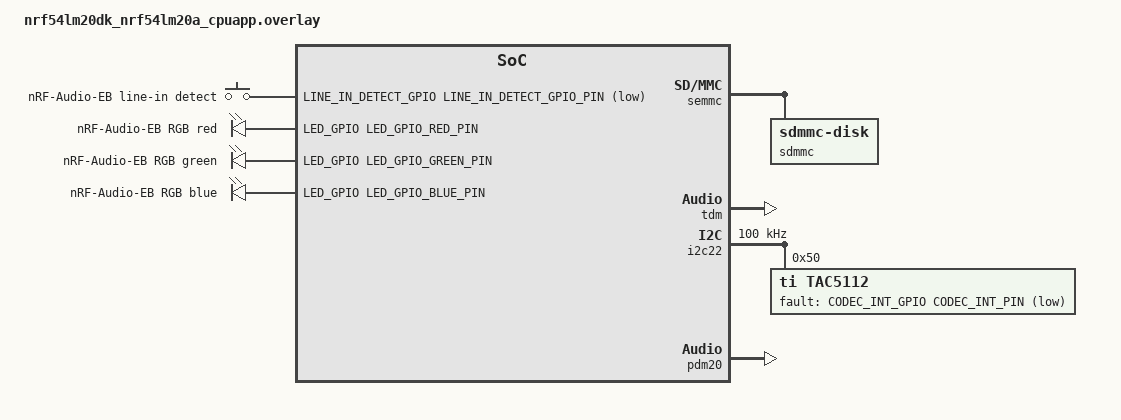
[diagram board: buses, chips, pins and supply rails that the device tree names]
/*
 * nRF-Audio-EB shield overlay for the nRF54LM20.
 *
 * Copyright (c) 2026 Nordic Semiconductor ASA
 *
 * SPDX-License-Identifier: LicenseRef-Nordic-5-Clause
 */

#include <zephyr/dt-bindings/gpio/gpio.h>
#include <zephyr/dt-bindings/i2c/i2c.h>
#include <zephyr/dt-bindings/input/input-event-codes.h>
#include <zephyr/dt-bindings/pinctrl/nrf-pinctrl.h>

#define CAT_(A,B) A ## B
#define CAT(A,B) CAT_(A, B)

#define CODEC_PWM_GPIO_NUM 0
#define PWM_GPIO CAT(gpio, CODEC_PWM_GPIO_NUM)
#define CODEC_PDM_CLK_PIN 3
#define CODEC_PDM_DIN_PIN 4

#define CODEC_TDM_GPIO_NUM 1
#define TDM_GPIO CAT(gpio, CODEC_TDM_GPIO_NUM)
#define CODEC_TDM_FSYNC_PIN 0
#define CODEC_TDM_SDOUT_PIN 13
#define CODEC_TDM_SCK_PIN 3
#define CODEC_TDM_MCK_PIN 4
#define CODEC_TDM_SDIN_PIN 5

#define CODEC_I2C_GPIO_NUM 1
#define I2C_GPIO CAT(gpio, CODEC_I2C_GPIO_NUM)
#define CODEC_I2C_GPIO_SCL_PIN 7
#define CODEC_I2C_GPIO_SDA_PIN 6

#define CODEC_INT_GPIO_NUM 3
#define CODEC_INT_GPIO CAT(gpio, CODEC_INT_GPIO_NUM)
#define CODEC_INT_PIN 5

#define LINE_IN_DETECT_GPIO_NUM 3
#define LINE_IN_DETECT_GPIO CAT(gpio, LINE_IN_DETECT_GPIO_NUM)
#define LINE_IN_DETECT_GPIO_PIN 6

#define LED_GPIO_NUM 3
#define LED_GPIO CAT(gpio, LED_GPIO_NUM)
#define LED_GPIO_RED_PIN 1
#define LED_GPIO_GREEN_PIN 3
#define LED_GPIO_BLUE_PIN 0

#define SEMMC_GPIO_NUM 2
#define SEMMC_GPIO CAT(gpio, SEMMC_GPIO_NUM)
#define SEMMC_GPIO_SCK 1
#define SEMMC_GPIO_DQ0 2
#define SEMMC_GPIO_DQ1 4
#define SEMMC_GPIO_DQ2 3
#define SEMMC_GPIO_DQ3 0
#define SEMMC_GPIO_CS0 5

#define EN_IN_CH1_BIT  BIT(0)
#define EN_IN_CH2_BIT  BIT(1)
#define EN_IN_CH3_BIT  BIT(2)
#define EN_IN_CH4_BIT  BIT(3)

#define EN_OUT_CH1_BIT BIT(0)
#define EN_OUT_CH2_BIT BIT(1)
#define EN_OUT_CH3_BIT BIT(2)
#define EN_OUT_CH4_BIT BIT(3)

/ {
	aliases {
		dmic0 = &pdm20;
		tac5112-i2s = &tdm;
		sdhc0 = &semmc;
	};

	nrf_audio_eb_inputs: gpio-keys {
		compatible = "gpio-keys";

		line_in_detect: line_in_detect {
			gpios = <&LINE_IN_DETECT_GPIO LINE_IN_DETECT_GPIO_PIN
			(GPIO_ACTIVE_LOW | GPIO_PULL_UP)>;
			label = "nRF-Audio-EB line-in detect";
			zephyr,code = <INPUT_KEY_0>;
		};
	};

	nrf_audio_eb_leds: leds {
		compatible = "gpio-leds";

		led_rgb_red: led_0 {
			gpios = <&LED_GPIO LED_GPIO_RED_PIN GPIO_ACTIVE_HIGH>;
			label = "nRF-Audio-EB RGB red";
		};

		led_rgb_green: led_1 {
			gpios = <&LED_GPIO LED_GPIO_GREEN_PIN GPIO_ACTIVE_HIGH>;
			label = "nRF-Audio-EB RGB green";
		};

		led_rgb_blue: led_2 {
			gpios = <&LED_GPIO LED_GPIO_BLUE_PIN GPIO_ACTIVE_HIGH>;
			label = "nRF-Audio-EB RGB blue";
		};
	};
};

&pinctrl {
	tdm_tac5112_default: tdm_tac5112_default {
		group1 {
			psels = <NRF_PSEL(TDM_MCK, CODEC_TDM_GPIO_NUM, CODEC_TDM_MCK_PIN)>;
			nordic,drive-mode = <NRF_DRIVE_H0H1>;
		};

		group2 {
			psels = <NRF_PSEL(TDM_SCK_M, CODEC_TDM_GPIO_NUM, CODEC_TDM_SCK_PIN)>,
				<NRF_PSEL(TDM_FSYNC_M, CODEC_TDM_GPIO_NUM, CODEC_TDM_FSYNC_PIN)>,
				<NRF_PSEL(TDM_SDOUT, CODEC_TDM_GPIO_NUM, CODEC_TDM_SDOUT_PIN)>,
				<NRF_PSEL(TDM_SDIN, CODEC_TDM_GPIO_NUM, CODEC_TDM_SDIN_PIN)>;
		};

	};

	tdm_tac5112_sleep: tdm_tac5112_sleep {
		group1 {
			psels =<NRF_PSEL(TDM_SCK_M, CODEC_TDM_GPIO_NUM, CODEC_TDM_SCK_PIN)>,
				<NRF_PSEL(TDM_FSYNC_M, CODEC_TDM_GPIO_NUM, CODEC_TDM_FSYNC_PIN)>,
				<NRF_PSEL(TDM_SDOUT, CODEC_TDM_GPIO_NUM, CODEC_TDM_SDOUT_PIN)>,
				<NRF_PSEL(TDM_SDIN, CODEC_TDM_GPIO_NUM, CODEC_TDM_SDIN_PIN)>;
			low-power-enable;
		};
	};

	i2c_tac5112_default: i2c_tac5112_default {
		group1 {
			psels = <NRF_PSEL(TWIM_SCL, CODEC_I2C_GPIO_NUM, CODEC_I2C_GPIO_SCL_PIN)>,
				<NRF_PSEL(TWIM_SDA, CODEC_I2C_GPIO_NUM, CODEC_I2C_GPIO_SDA_PIN)>;
		};
	};

	i2c_tac5112_sleep: i2c_tac5112_sleep {
		group1 {
			psels = <NRF_PSEL(TWIM_SCL, CODEC_I2C_GPIO_NUM, CODEC_I2C_GPIO_SCL_PIN)>,
				<NRF_PSEL(TWIM_SDA, CODEC_I2C_GPIO_NUM, CODEC_I2C_GPIO_SDA_PIN)>;
			low-power-enable;
		};
	};

	pdm_default: pdm_default {
		group1 {
			psels = <NRF_PSEL(PDM_CLK, CODEC_PWM_GPIO_NUM, CODEC_PDM_CLK_PIN)>,
				<NRF_PSEL(PDM_DIN, CODEC_PWM_GPIO_NUM, CODEC_PDM_DIN_PIN)>;
		};
	};

	semmc_default: semmc_default {
		group1 {
			psels = <NRF_PSEL(SDP_MSPI_SCK, SEMMC_GPIO_NUM, SEMMC_GPIO_SCK)>;
			nordic,drive-mode = <NRF_DRIVE_E0E1>;
			bias-pull-down;
		};

		group2 {
			psels = <NRF_PSEL(SDP_MSPI_DQ0, SEMMC_GPIO_NUM, SEMMC_GPIO_DQ0)>,
				<NRF_PSEL(SDP_MSPI_DQ1, SEMMC_GPIO_NUM, SEMMC_GPIO_DQ1)>,
				<NRF_PSEL(SDP_MSPI_DQ2, SEMMC_GPIO_NUM, SEMMC_GPIO_DQ2)>,
				<NRF_PSEL(SDP_MSPI_DQ3, SEMMC_GPIO_NUM, SEMMC_GPIO_DQ3)>,
				<NRF_PSEL(SDP_MSPI_CS0, SEMMC_GPIO_NUM, SEMMC_GPIO_CS0)>;
			nordic,drive-mode = <NRF_DRIVE_E0E1>;
			bias-pull-up;
		};
	};

	semmc_sleep: semmc_sleep {
		group1 {
			low-power-enable;
			psels = <NRF_PSEL(SDP_MSPI_SCK, SEMMC_GPIO_NUM, SEMMC_GPIO_SCK)>,
				<NRF_PSEL(SDP_MSPI_DQ0, SEMMC_GPIO_NUM, SEMMC_GPIO_DQ0)>,
				<NRF_PSEL(SDP_MSPI_DQ1, SEMMC_GPIO_NUM, SEMMC_GPIO_DQ1)>,
				<NRF_PSEL(SDP_MSPI_DQ2, SEMMC_GPIO_NUM, SEMMC_GPIO_DQ2)>,
				<NRF_PSEL(SDP_MSPI_DQ3, SEMMC_GPIO_NUM, SEMMC_GPIO_DQ3)>,
				<NRF_PSEL(SDP_MSPI_CS0, SEMMC_GPIO_NUM, SEMMC_GPIO_CS0)>;
		};
	};
};

&tdm {
	status = "okay";
	pinctrl-0 = <&tdm_tac5112_default>;
	pinctrl-1 = <&tdm_tac5112_sleep>;
	pinctrl-names = "default", "sleep";
	sck-clock-source = "PCLK";
};

&i2c22 {
	status = "okay";
	pinctrl-0 = <&i2c_tac5112_default>;
	pinctrl-1 = <&i2c_tac5112_sleep>;
	pinctrl-names = "default", "sleep";
	clock-frequency = <I2C_BITRATE_STANDARD>;

	tac5112: audio-codec@50 {
		compatible = "ti,tac5112";
		reg = <0x50>;
		fault-gpios = <&CODEC_INT_GPIO CODEC_INT_PIN (GPIO_ACTIVE_LOW | GPIO_PULL_UP)>;
		input-channels = <(EN_IN_CH1_BIT | EN_IN_CH2_BIT)>;
		output-channels = <(EN_OUT_CH1_BIT | EN_OUT_CH2_BIT)>;
	};
};

&pdm20 {
	status = "okay";
	pinctrl-0 = <&pdm_default>;
	pinctrl-names = "default";
	clock-source = "PCLK32M";
};

&spi00 {
	status = "disabled";
};

&cpuflpr_vpr {
	pinctrl-0 = <&semmc_default>;
	pinctrl-1 = <&semmc_sleep>;
	pinctrl-names = "default", "sleep";
	interrupts = <76 NRF_DEFAULT_IRQ_PRIORITY>;
	status = "okay";
	/delete-property/ execution-memory;
};

/ {
	reserved-memory {
		#address-cells = <1>;
		#size-cells = <1>;
		ranges;

		softperiph_ram: memory@2007b000 {
			reg = <0x2007b000 0x4c00>;
			ranges = <0 0x2007b000 0x4c00>;
			#address-cells = <1>;
			#size-cells = <1>;

			semmc: semmc@4200 {
				compatible = "nordic,nrf-semmc";
				#address-cells = <1>;
				#size-cells = <0>;
				reg = <0x4200 0x200>;
				zephyr,pm-device-runtime-auto;

				sdmmc {
					compatible = "zephyr,sdmmc-disk";
					disk-name = "SD";
					status = "okay";
				};
			};
		};
	};
};
